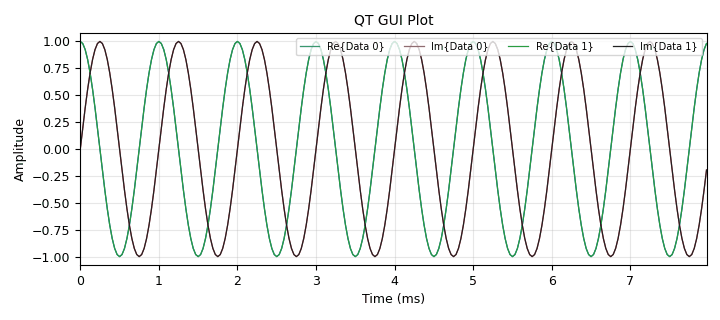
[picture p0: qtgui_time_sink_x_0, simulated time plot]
<?xml version='1.0' encoding='utf-8'?>
<flow_graph>
<block>
<key>options</key>
<param><key>id</key><value>phase_comparator_ex2</value></param>
<param><key>generate_options</key><value>qt_gui</value></param>
<param><key>category</key><value>Custom</value></param>
</block>
<block>
<key>variable</key>
<param><key>id</key><value>samp_rate</value></param>
<param><key>value</key><value>32000</value></param>
</block>
<block>
<key>variable</key>
<param><key>id</key><value>rps</value></param>
<param><key>value</key><value>(2*math.pi * 1000) / samp_rate</value></param>
</block>
<block>
<key>import</key>
<param><key>id</key><value>import_0</value></param>
<param><key>import</key><value>import math</value></param>
</block>
<block>
<key>blocks_multiply_conjugate_cc</key>
<param><key>id</key><value>blocks_multiply_conjugate_cc_0</value></param>
</block>
<block>
<key>qtgui_time_sink_x</key>
<param><key>id</key><value>qtgui_time_sink_x_0</value></param>
<param><key>type</key><value>complex</value></param>
<param><key>name</key><value>QT GUI Plot</value></param>
<param><key>size</key><value>256</value></param>
<param><key>srate</key><value>samp_rate</value></param>
<param><key>nconnections</key><value>2</value></param>
<param><key>gui_hint</key><value>1,0,1,1</value></param>
</block>
<block>
<key>blocks_throttle</key>
<param><key>id</key><value>blocks_throttle_0</value></param>
<param><key>type</key><value>complex</value></param>
<param><key>samples_per_second</key><value>samp_rate</value></param>
</block>
<block>
<key>analog_sig_source_x</key>
<param><key>id</key><value>analog_sig_source_x_0</value></param>
<param><key>type</key><value>complex</value></param>
<param><key>samp_rate</key><value>samp_rate</value></param>
<param><key>waveform</key><value>analog.GR_COS_WAVE</value></param>
<param><key>freq</key><value>1000</value></param>
<param><key>amp</key><value>1</value></param>
<param><key>offset</key><value>0</value></param>
</block>
<block>
<key>qtgui_time_sink_x</key>
<param><key>id</key><value>qtgui_time_sink_x_0_0</value></param>
<param><key>type</key><value>float</value></param>
<param><key>name</key><value>QT GUI Plot</value></param>
<param><key>size</key><value>256</value></param>
<param><key>srate</key><value>samp_rate</value></param>
<param><key>ymin</key><value>-20</value></param>
<param><key>ymax</key><value>20</value></param>
<param><key>nconnections</key><value>2</value></param>
<param><key>gui_hint</key><value>1,1,1,1</value></param>
</block>
<block>
<key>analog_sig_source_x</key>
<param><key>id</key><value>analog_sig_source_x_0_0</value></param>
<param><key>type</key><value>complex</value></param>
<param><key>samp_rate</key><value>samp_rate</value></param>
<param><key>waveform</key><value>analog.GR_COS_WAVE</value></param>
<param><key>freq</key><value>1000 - freq_diff</value></param>
<param><key>amp</key><value>1</value></param>
<param><key>offset</key><value>0</value></param>
</block>
<block>
<key>phase_comparator</key>
<param><key>id</key><value>phase_comparator_0</value></param>
<param><key>wrap_window</key><value>[-2,2]</value></param>
</block>
<block>
<key>blocks_probe_signal_x</key>
<param><key>id</key><value>pc_diff_probe</value></param>
<param><key>type</key><value>float</value></param>
</block>
<block>
<key>blocks_complex_to_arg</key>
<param><key>id</key><value>blocks_complex_to_arg_1_0</value></param>
</block>
<block>
<key>blocks_probe_signal_x</key>
<param><key>id</key><value>mca_diff_probe</value></param>
<param><key>type</key><value>float</value></param>
</block>
<block>
<key>variable_function_probe</key>
<param><key>id</key><value>mca_diff</value></param>
<param><key>value</key><value>0</value></param>
<param><key>block_id</key><value>mca_diff_probe</value></param>
<param><key>function_name</key><value>level</value></param>
<param><key>poll_rate</key><value>10</value></param>
</block>
<block>
<key>variable_function_probe</key>
<param><key>id</key><value>pc_diff</value></param>
<param><key>value</key><value>0</value></param>
<param><key>block_id</key><value>pc_diff_probe</value></param>
<param><key>function_name</key><value>level</value></param>
<param><key>poll_rate</key><value>10</value></param>
</block>
<block>
<key>variable_qtgui_range</key>
<param><key>id</key><value>freq_diff</value></param>
<param><key>label</key><value>Frequency Difference (Hz)</value></param>
<param><key>value</key><value>0</value></param>
<param><key>start</key><value>-2</value></param>
<param><key>stop</key><value>2</value></param>
<param><key>step</key><value>0.1</value></param>
<param><key>widget</key><value>slider</value></param>
<param><key>orient</key><value>Qt.Horizontal</value></param>
<param><key>gui_hint</key><value>0,0,1,1</value></param>
</block>
<block>
<key>variable_qtgui_label</key>
<param><key>id</key><value>variable_qtgui_label_0</value></param>
<param><key>label</key><value>PC Diff / MCA Diff</value></param>
<param><key>type</key><value>raw</value></param>
<param><key>value</key><value>"%0.2f / %0.2f" % (pc_diff, mca_diff)</value></param>
<param><key>gui_hint</key><value>0,1,1,1</value></param>
</block>
<connection><source_block_id>phase_comparator_0</source_block_id><sink_block_id>qtgui_time_sink_x_0_0</sink_block_id><source_key>0</source_key><sink_key>0</sink_key></connection>
<connection><source_block_id>blocks_multiply_conjugate_cc_0</source_block_id><sink_block_id>blocks_complex_to_arg_1_0</sink_block_id><source_key>0</source_key><sink_key>0</sink_key></connection>
<connection><source_block_id>blocks_complex_to_arg_1_0</source_block_id><sink_block_id>qtgui_time_sink_x_0_0</sink_block_id><source_key>0</source_key><sink_key>1</sink_key></connection>
<connection><source_block_id>analog_sig_source_x_0</source_block_id><sink_block_id>blocks_throttle_0</sink_block_id><source_key>0</source_key><sink_key>0</sink_key></connection>
<connection><source_block_id>blocks_throttle_0</source_block_id><sink_block_id>phase_comparator_0</sink_block_id><source_key>0</source_key><sink_key>0</sink_key></connection>
<connection><source_block_id>blocks_throttle_0</source_block_id><sink_block_id>blocks_multiply_conjugate_cc_0</sink_block_id><source_key>0</source_key><sink_key>0</sink_key></connection>
<connection><source_block_id>blocks_throttle_0</source_block_id><sink_block_id>qtgui_time_sink_x_0</sink_block_id><source_key>0</source_key><sink_key>0</sink_key></connection>
<connection><source_block_id>analog_sig_source_x_0_0</source_block_id><sink_block_id>blocks_multiply_conjugate_cc_0</sink_block_id><source_key>0</source_key><sink_key>1</sink_key></connection>
<connection><source_block_id>analog_sig_source_x_0_0</source_block_id><sink_block_id>phase_comparator_0</sink_block_id><source_key>0</source_key><sink_key>1</sink_key></connection>
<connection><source_block_id>analog_sig_source_x_0_0</source_block_id><sink_block_id>qtgui_time_sink_x_0</sink_block_id><source_key>0</source_key><sink_key>1</sink_key></connection>
<connection><source_block_id>phase_comparator_0</source_block_id><sink_block_id>pc_diff_probe</sink_block_id><source_key>0</source_key><sink_key>0</sink_key></connection>
<connection><source_block_id>blocks_complex_to_arg_1_0</source_block_id><sink_block_id>mca_diff_probe</sink_block_id><source_key>0</source_key><sink_key>0</sink_key></connection>
</flow_graph>
